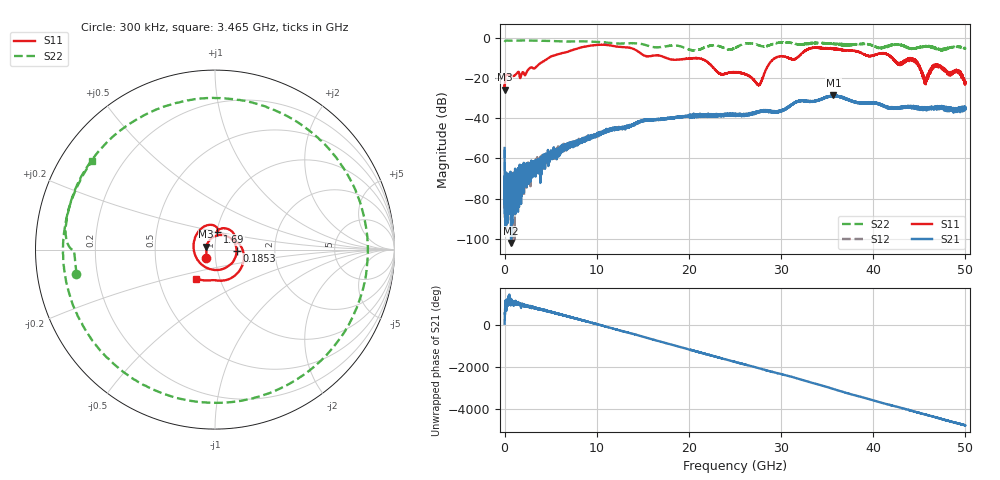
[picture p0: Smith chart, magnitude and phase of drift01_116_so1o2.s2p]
!Created with skrf (http://scikit-rf.org).
# Hz S RI R 50.0
!freq ReS11 ImS11 ReS21 ImS21 ReS12 ImS12 ReS22 ImS22
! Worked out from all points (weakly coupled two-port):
!   10001 points, 300 kHz to 50 GHz, reference 50 ohm
!   highest |S21| = -28.68 dB at 35.68 GHz (marker M1); lowest = -101.9 dB at 700.3 MHz (marker M2)
!   lowest |S11| = -25.8 dB at 5.3 MHz (marker M3), VSWR 1.11, Z = 45.3 + j1.4 ohm
!   |S11| at or under -10 dB: start of sweep to 4.766 GHz; 17.52 GHz to 29.38 GHz (11.86 GHz wide, 50.6 % of centre); 42.08 GHz to end of sweep (the widest 3 of 8)
!   |S22| runs from -6.3 to -1.4 dB; largest |S21 - S12| = 0.0039
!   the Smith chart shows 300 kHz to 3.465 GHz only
!   S11 on the Smith chart (normalised r, x): 300 kHz: 0.91, -0.08; 185.3 MHz: 1.27, -0.02; 1.69 GHz: 1.00, +0.20; 3.465 GHz: 0.77, -0.26
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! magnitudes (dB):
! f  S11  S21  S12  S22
! 300 kHz  -23.8  -54.8  -55.6  -2.1
! 5.3 MHz  -25.8  -72.4  -75.8  -2.1
! 185.3 MHz  -18.4  -73.4  -94.9  -1.4
! 700.3 MHz  -19.0  -101.9  -78.8  -1.5
! 1.69 GHz  -20.1  -70.4  -68.9  -1.4
! 3.465 GHz  -14.3  -63.5  -66.2  -1.5
! 8.335 GHz  -4.8  -51.7  -50.9  -1.8
! 16.67 GHz  -8.8  -40.7  -40.8  -4.8
! 21.22 GHz  -10.3  -39.0  -39.0  -5.7
! 23.39 GHz  -17.9  -38.3  -38.3  -4.4
! 25 GHz  -17.0  -38.5  -38.2  -5.0
! 27.59 GHz  -23.6  -36.8  -36.9  -3.8
! 29.27 GHz  -10.4  -36.7  -37.1  -2.9
! 31.47 GHz  -10.7  -32.1  -32.2  -2.9
! 33.34 GHz  -5.1  -31.6  -31.6  -2.7
! 35.68 GHz  -5.3  -28.7  -29.0  -3.1
! 41.67 GHz  -8.6  -34.7  -34.7  -4.1
! 42.84 GHz  -12.5  -34.8  -34.5  -3.6
! 44.43 GHz  -11.0  -34.4  -34.4  -5.3
! 45.65 GHz  -20.8  -35.3  -35.1  -4.3
! 46.88 GHz  -13.9  -35.2  -34.8  -5.5
! 50 GHz  -22.0  -35.2  -35.4  -5.3
